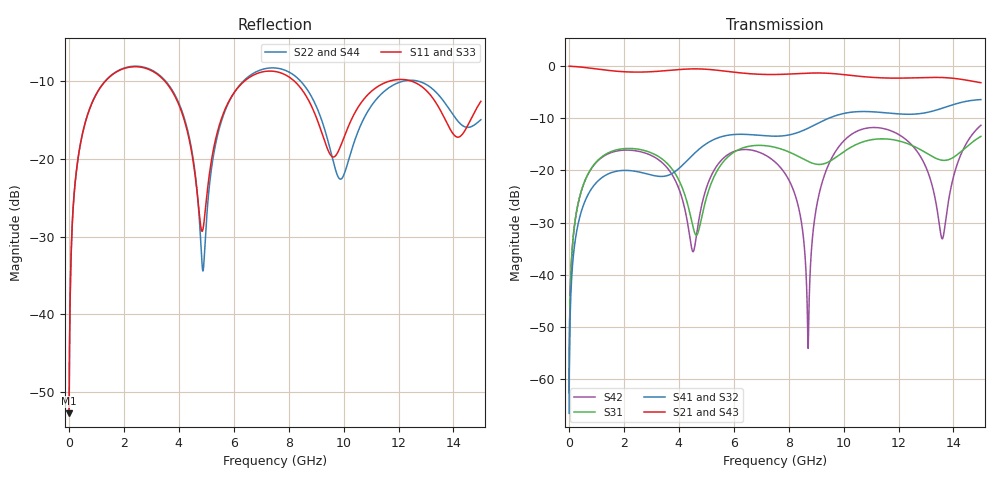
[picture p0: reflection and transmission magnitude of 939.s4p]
! Created with skrf 1.8.0 (http://scikit-rf.org).
# GHz S RI R 50.0
!freq ReS11 ImS11 ReS12 ImS12 ReS13 ImS13
! ReS14 ImS14
! ReS21 ImS21 ReS22 ImS22 ReS23 ImS23
! ReS24 ImS24
! ReS31 ImS31 ReS32 ImS32 ReS33 ImS33
! ReS34 ImS34
! ReS41 ImS41 ReS42 ImS42 ReS43 ImS43
! ReS44 ImS44
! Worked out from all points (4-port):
!   2499 points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, 5 MHz to 15 GHz, reference 50 ohm
!   strongest paths, dB at 5 MHz, 3.476 GHz, 7.19 GHz, 11.1 GHz, 15 GHz:
!     S21: 0.0, -0.9, -1.6, -2.2, -3.2
!     S43: 0.0, -0.9, -1.6, -2.2, -3.2
!     S41: -66.5, -21.1, -13.4, -8.8, -6.4
!     S32: -66.5, -21.1, -13.4, -8.8, -6.4
!     S31: -62.5, -18.2, -15.3, -14.0, -13.5
!     S42: -62.5, -18.9, -17.2, -11.8, -11.3
!   lowest |S11| = -52.7 dB at 5 MHz (marker M1), VSWR 1.00, Z = 50.2 + j0.14 ohm
!   |S11| at or under -10 dB: 3.483 GHz to 6.396 GHz (2.912 GHz wide, 59 % of centre); 8.199 GHz to 11.69 GHz (3.494 GHz wide, 35.1 % of centre); 12.45 GHz to end of sweep (the widest 3 of 4)
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0.005  0.00184 0.0014  0.9981 -0.00359  9.37e-05 0.000742  -9.08e-05 -0.000464
       0.9981 -0.00359  0.00184 0.0014  -9.08e-05 -0.000464  9.35e-05 0.000742
       9.37e-05 0.000742  -9.08e-05 -0.000464  0.00184 0.0014  0.9981 -0.00359
       -9.08e-05 -0.000464  9.35e-05 0.000742  0.9981 -0.00359  0.00184 0.0014
1.419341  0.2776 0.175  0.5295 -0.74  0.137 0.0536  -0.0925 -0.00283
          0.5295 -0.74  0.2806 0.173  -0.0924 -0.00288  0.1284 0.0659
          0.137 0.0536  -0.0924 -0.00288  0.2776 0.1749  0.5295 -0.74
          -0.0925 -0.00283  0.1284 0.0659  0.5295 -0.74  0.2805 0.173
4.908295  0.0352 0.0144  -0.9351 -0.035  -0.00843 0.0428  -0.000718 0.1735
          -0.9351 -0.035  0.0195 0.00714  -0.00161 0.1735  0.0263 0.0495
          -0.00843 0.0428  -0.00161 0.1735  0.0357 0.0162  -0.9351 -0.0347
          -0.000718 0.1735  0.0263 0.0495  -0.9351 -0.0347  0.0189 0.00884
7.615673  0.3586 -0.0369  0.0434 0.8306  0.0955 -0.1332  0.2046 -0.0603
          0.0434 0.8306  0.3778 -0.0502  0.2047 -0.0581  0.1023 -0.0482
          0.0955 -0.1332  0.2047 -0.0581  0.3606 -0.0378  0.0421 0.83
          0.2046 -0.0603  0.1023 -0.0482  0.0421 0.83  0.3794 -0.0486
8.709879  0.2013 -0.131  0.5693 0.6387  -0.076 -0.0955  0.1849 -0.1745
          0.5693 0.6387  0.2096 -0.1743  0.1868 -0.1726  0.00164 0.00111
          -0.076 -0.0955  0.1868 -0.1726  0.203 -0.1327  0.5671 0.6399
          0.1849 -0.1745  0.00164 0.00111  0.5671 0.6399  0.212 -0.175
10.00417  0.1238 0.0557  0.8288 -0.0148  -0.0275 0.1485  -0.0219 -0.3511
          0.8288 -0.0148  0.0779 0.00938  -0.0188 -0.3512  0.0888 0.1701
          -0.0275 0.1485  -0.0188 -0.3512  0.1245 0.0526  0.8291 -0.0108
          -0.0219 -0.3511  0.0888 0.1701  0.8291 -0.0108  0.076 0.00519
15  0.219 0.0825  -0.6933 -0.00141  -0.00199 0.2122  0.0401 0.4759
    -0.6933 -0.00141  0.1783 -0.000178  0.034 0.4754  0.1329 0.2362
    -0.00199 0.2122  0.034 0.4754  0.2182 0.091  -0.6932 -0.00747
    0.0401 0.4759  0.1329 0.2362  -0.6932 -0.00747  0.1766 0.00508
